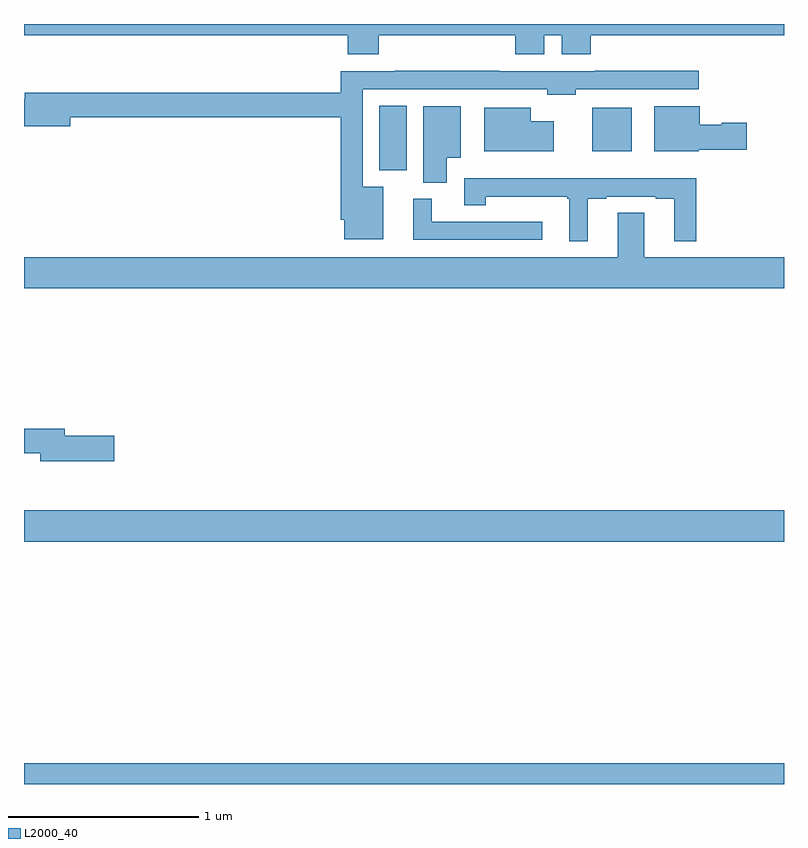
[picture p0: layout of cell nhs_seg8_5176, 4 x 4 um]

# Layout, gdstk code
import gdstk
lib = gdstk.Library(unit=1e-6, precision=1e-09)
def R(c, l, rs):  # rectangles x0, y0, x1, y1
    for r in rs: c.add(gdstk.rectangle(r[:2], r[2:], *l))
def P(c, l, *ps):  # polygons
    for p in ps: c.add(gdstk.Polygon(p, *l))
L2000_40 = (2000, 40)

nhs_seg8_5176 = lib.new_cell('nhs_seg8_5176')
R(nhs_seg8_5176, L2000_40, [(423,1105.9,427,1106.008), (423,1107.176,427,1107.34), (424.871,1109.129,425.014,1109.471), (425.99,1109.231,426.199,1109.458)])
P(nhs_seg8_5176, L2000_40, [(423,1109.84),(424.703,1109.84),(424.703,1109.741),(424.868,1109.741),(424.868,1109.84),(425.585,1109.84),(425.585,1109.741),(425.737,1109.741),(425.737,1109.84),(425.831,1109.84),(425.831,1109.741),(425.984,1109.741),(425.984,1109.84),(427,1109.84),(427,1109.9),(423,1109.9)],
  [(424.891,1109.044),(424.782,1109.044),(424.782,1109.556),(425.754,1109.556),(425.754,1109.528),(425.904,1109.528),(425.904,1109.556),(426.55,1109.556),(426.55,1109.654),(426.004,1109.654),(426.004,1109.652),(425.501,1109.652),(425.501,1109.654),(424.951,1109.654),(424.951,1109.652),(424.666,1109.652),(424.666,1109.539),(423.005,1109.539),(423.005,1109.505),(423,1109.505),(423,1109.363),(423.244,1109.363),(423.244,1109.41),(424.666,1109.41),(424.666,1108.87),(424.685,1108.87),(424.685,1108.766),(424.891,1108.766)],
  [(425.224,1109.195),(425.299,1109.195),(425.299,1109.467),(425.102,1109.467),(425.102,1109.065),(425.224,1109.065)],
  [(426.552,1109.237),(426.805,1109.237),(426.805,1109.379),(426.672,1109.379),(426.672,1109.371),(426.556,1109.371),(426.556,1109.467),(426.317,1109.467),(426.317,1109.231),(426.552,1109.231)],
  [(425.788,1109.389),(425.668,1109.389),(425.668,1109.458),(425.423,1109.458),(425.423,1109.231),(425.788,1109.231)],
  [(425.968,1108.98),(426.064,1108.98),(426.064,1108.992),(426.326,1108.992),(426.326,1108.98),(426.422,1108.98),(426.422,1108.757),(426.539,1108.757),(426.539,1109.089),(425.316,1109.089),(425.316,1108.945),(425.429,1108.945),(425.429,1108.991),(425.859,1108.991),(425.859,1108.98),(425.87,1108.98),(425.87,1108.757),(425.968,1108.757)],
  [(425.728,1108.86),(425.146,1108.86),(425.146,1108.98),(425.048,1108.98),(425.048,1108.764),(425.728,1108.764)],
  [(427,1108.672),(426.265,1108.672),(426.265,1108.907),(426.125,1108.907),(426.125,1108.672),(423,1108.672),(423,1108.508),(427,1108.508)],
  [(423.475,1107.734),(423.214,1107.734),(423.214,1107.77),(423,1107.77),(423,1107.642),(423.086,1107.642),(423.086,1107.599),(423.475,1107.599)])

lib.write_gds('nhs_seg8_5176.gds')
